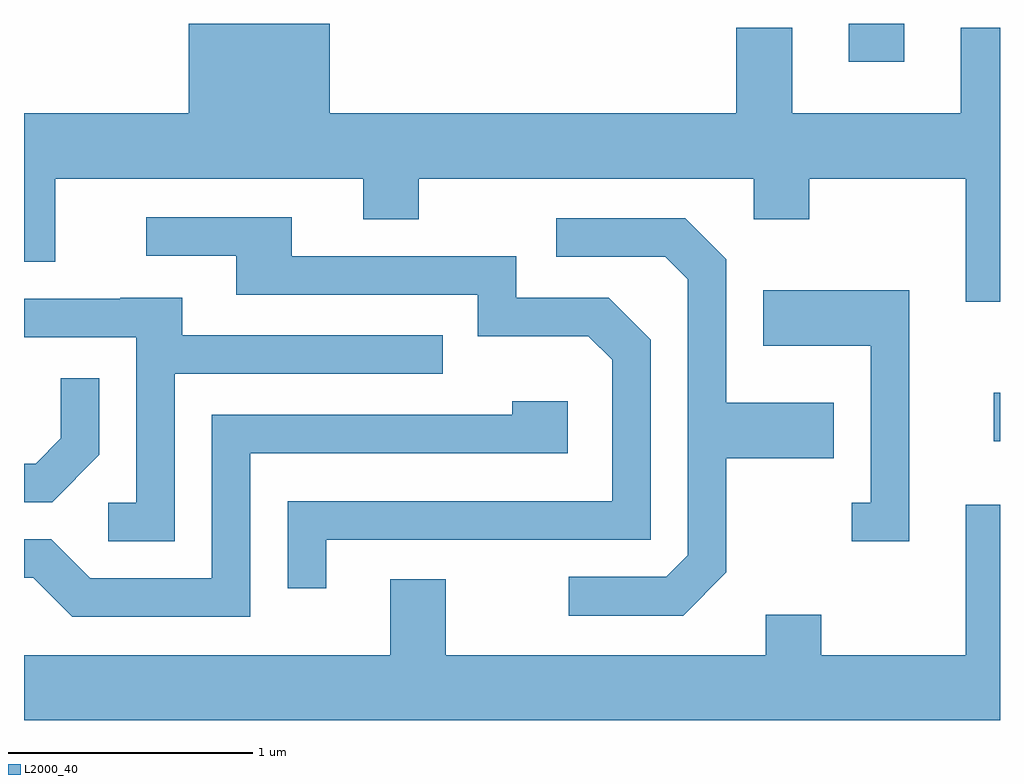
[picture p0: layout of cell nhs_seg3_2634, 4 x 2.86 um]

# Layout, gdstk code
import gdstk
lib = gdstk.Library(unit=1e-6, precision=1e-09)
def R(c, l, rs):  # rectangles x0, y0, x1, y1
    for r in rs: c.add(gdstk.rectangle(r[:2], r[2:], *l))
def P(c, l, *ps):  # polygons
    for p in ps: c.add(gdstk.Polygon(p, *l))
L2000_40 = (2000, 40)

nhs_seg3_2634 = lib.new_cell('nhs_seg3_2634')
R(nhs_seg3_2634, L2000_40, [(265.586,1218.181,265.611,1218.379), (264.991,1219.736,265.219,1219.892)])
P(nhs_seg3_2634, L2000_40, [(265.611,1219.874),(265.451,1219.874),(265.451,1219.524),(264.759,1219.524),(264.759,1219.874),(264.531,1219.874),(264.531,1219.524),(262.864,1219.524),(262.864,1219.892),(262.286,1219.892),(262.286,1219.524),(261.611,1219.524),(261.611,1218.916),(261.739,1218.916),(261.739,1219.256),(263.001,1219.256),(263.001,1219.091),(263.229,1219.091),(263.229,1219.256),(264.601,1219.256),(264.601,1219.091),(264.829,1219.091),(264.829,1219.256),(265.471,1219.256),(265.471,1218.751),(265.611,1218.751)],
  [(262.849,1217.776),(264.179,1217.776),(264.179,1218.597),(264.007,1218.769),(263.629,1218.769),(263.629,1218.939),(262.709,1218.939),(262.709,1219.099),(262.113,1219.099),(262.113,1218.941),(262.481,1218.941),(262.481,1218.781),(263.471,1218.781),(263.471,1218.611),(263.924,1218.611),(264.021,1218.514),(264.021,1217.934),(262.691,1217.934),(262.691,1217.578),(262.849,1217.578)],
  [(264.489,1217.644),(264.489,1218.111),(264.929,1218.111),(264.929,1218.339),(264.489,1218.339),(264.489,1218.927),(264.322,1219.094),(263.793,1219.094),(263.793,1218.936),(264.239,1218.936),(264.331,1218.844),(264.331,1217.712),(264.244,1217.624),(263.843,1217.624),(263.843,1217.466),(264.312,1217.466)],
  [(265.239,1218.799),(264.641,1218.799),(264.641,1218.571),(265.081,1218.571),(265.081,1217.929),(265.003,1217.929),(265.003,1217.771),(265.239,1217.771)],
  [(262.229,1218.456),(263.328,1218.456),(263.328,1218.614),(262.259,1218.614),(262.259,1218.769),(262.005,1218.769),(262.005,1218.764),(261.611,1218.764),(261.611,1218.606),(262.071,1218.606),(262.071,1217.929),(261.957,1217.929),(261.957,1217.771),(262.229,1217.771)],
  [(261.919,1218.124),(261.919,1218.438),(261.761,1218.438),(261.761,1218.192),(261.659,1218.089),(261.611,1218.089),(261.611,1217.931),(261.727,1217.931)],
  [(262.539,1218.131),(263.839,1218.131),(263.839,1218.344),(263.611,1218.344),(263.611,1218.289),(262.381,1218.289),(262.381,1217.619),(261.882,1217.619),(261.722,1217.779),(261.611,1217.779),(261.611,1217.621),(261.649,1217.621),(261.808,1217.461),(262.539,1217.461)],
  [(265.611,1217.919),(265.471,1217.919),(265.471,1217.304),(264.879,1217.304),(264.879,1217.469),(264.651,1217.469),(264.651,1217.304),(263.339,1217.304),(263.339,1217.614),(263.111,1217.614),(263.111,1217.304),(261.611,1217.304),(261.611,1217.036),(265.611,1217.036)])

lib.write_gds('nhs_seg3_2634.gds')
